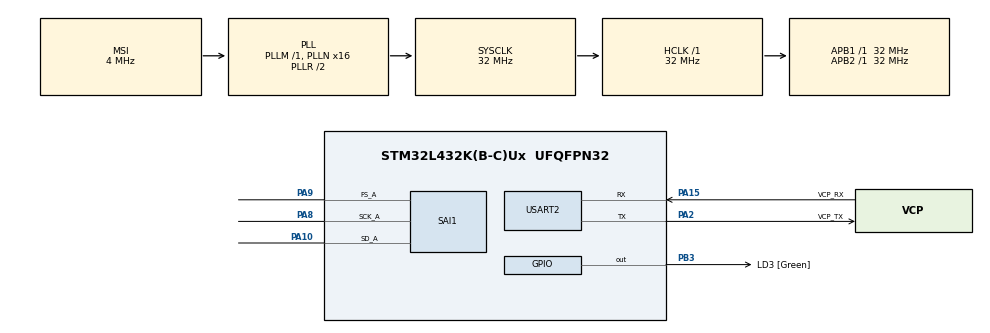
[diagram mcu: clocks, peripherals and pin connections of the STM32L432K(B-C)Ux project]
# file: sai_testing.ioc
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Dma.Request0=SAI1_A
Dma.SAI1_A.0.Direction=DMA_MEMORY_TO_PERIPH
Dma.SAI1_A.0.Instance=DMA2_Channel1
Dma.SAI1_A.0.MemDataAlignment=DMA_MDATAALIGN_WORD
Dma.SAI1_A.0.MemInc=DMA_MINC_ENABLE
Dma.SAI1_A.0.Mode=DMA_NORMAL
Dma.SAI1_A.0.PeriphDataAlignment=DMA_PDATAALIGN_WORD
Dma.SAI1_A.0.PeriphInc=DMA_PINC_DISABLE
Dma.SAI1_A.0.Priority=DMA_PRIORITY_HIGH
Mcu.Family=STM32L4
Mcu.Name=STM32L432K(B-C)Ux
Mcu.Package=UFQFPN32
NVIC.DMA2_Channel1_IRQn=true\:0\:0\:false\:false\:true\:false\:true\:true
NVIC.PriorityGroup=NVIC_PRIORITYGROUP_4
PA0.GPIO_Label=MCO [High speed clock in]
PA0.Mode=HSE-External-Clock-Source-for-LittleOrca
PA0.Signal=RCC_CK_IN
PA10.Mode=SAI_A_Master
PA10.Signal=SAI1_SD_A
PA13\ (JTMS-SWDIO).GPIO_Label=SWDIO
PA13\ (JTMS-SWDIO).Mode=Serial_Wire
PA13\ (JTMS-SWDIO).Signal=SYS_JTMS-SWDIO
PA14\ (JTCK-SWCLK).GPIO_Label=SWCLK
PA14\ (JTCK-SWCLK).Mode=Serial_Wire
PA14\ (JTCK-SWCLK).Signal=SYS_JTCK-SWCLK
PA15\ (JTDI).GPIO_Label=VCP_RX
PA15\ (JTDI).Mode=Asynchronous
PA15\ (JTDI).Signal=USART2_RX
PA2.GPIO_Label=VCP_TX
PA2.Mode=Asynchronous
PA2.Signal=USART2_TX
PA8.Mode=SAI_A_Master
PA8.Signal=SAI1_SCK_A
PA9.Mode=SAI_A_Master
PA9.Signal=SAI1_FS_A
PB3\ (JTDO-TRACESWO).GPIO_Label=LD3 [Green]
PB3\ (JTDO-TRACESWO).Signal=GPIO_Output
PC14-OSC32_IN\ (PC14).Mode=LSE-External-Oscillator
PC14-OSC32_IN\ (PC14).Signal=RCC_OSC32_IN
PC15-OSC32_OUT\ (PC15).Mode=LSE-External-Oscillator
PC15-OSC32_OUT\ (PC15).Signal=RCC_OSC32_OUT
ProjectManager.HeapSize=0x200
ProjectManager.StackSize=0x400
ProjectManager.TargetToolchain=STM32CubeIDE
RCC.ADCFreq_Value=56000000
RCC.AHBFreq_Value=32000000
RCC.APB1Freq_Value=32000000
RCC.APB1TimFreq_Value=32000000
RCC.APB2Freq_Value=32000000
RCC.APB2TimFreq_Value=32000000
RCC.CortexFreq_Value=32000000
RCC.HCLKFreq_Value=32000000
RCC.HSE_VALUE=8000000
RCC.HSI16_VALUE=16000000
RCC.HSI48_VALUE=48000000
RCC.HSI_VALUE=16000000
RCC.MSI_VALUE=4000000
RCC.PLLMUL=RCC_PLLMUL_4
RCC.PLLN=16
RCC.PLLSAI1N=28
RCC.SYSCLKFreq_VALUE=32000000
RCC.SYSCLKSource=RCC_SYSCLKSOURCE_PLLCLK
RCC.USBFreq_Value=56000000
RCC.VCOOutputFreq_Value=64000000
SAI1.AudioFrequency-SAI_A_Master=SAI_AUDIO_FREQUENCY_16K
SAI1.BasicSlotNumber-SAI_A_Master=2
SAI1.ErrorAudioFreq-SAI_A_Master=-2.34 %
SAI1.InitProtocol-SAI_A_Master=Enable
SAI1.Instance-SAI_A_Master=SAI$Index_Block_A
SAI1.MClockEnable-SAI_A_Master=SAI_MASTERCLOCK_DISABLE
SAI1.MonoStereoMode-SAI_A_Master=SAI_STEREOMODE
SAI1.RealAudioFreq-SAI_A_Master=15.625 KHz
SAI1.VirtualMode-SAI_A_Master=VM_MASTER
SAI1.VirtualProtocol-SAI_A_BASIC=VM_BASIC_PROTOCOL
TIM6.Period=1000
TIM6.TIM_MasterOutputTrigger=TIM_TRGO_UPDATE
USART2.VirtualMode-Asynchronous=VM_ASYNC
VP_SAI1_VP_$IpInstance_SAIA_SAI_BASIC.Mode=SAI_A_BASIC
VP_TIM6_VS_ClockSourceINT.Mode=Enable_Timer
board=NUCLEO-L432KC

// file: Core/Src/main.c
/* USER CODE BEGIN Header */
/**
  ******************************************************************************
  * @file           : main.c
  * @brief          : Main program body
  ******************************************************************************
  * @attention
  *
  * Copyright (c) 2025 STMicroelectronics.
  * All rights reserved.
  *
  * This software is licensed under terms that can be found in the LICENSE file
  * in the root directory of this software component.
  * If no LICENSE file comes with this software, it is provided AS-IS.
  *
  ******************************************************************************
  */
/* USER CODE END Header */
#include "main.h"

/* USER CODE BEGIN Includes */
#include "audio_clip.h"

/* USER CODE END Includes */

/* USER CODE BEGIN PD */
#define MONO_CHUNK_SAMPLES 256  // 256 mono samples = 512 bytes input
#define STEREO_FRAME_BYTES (MONO_CHUNK_SAMPLES * 2 * 2)  // 2 bytes × 2 channels

/* USER CODE END PD */

SAI_HandleTypeDef hsai_BlockA1;
DMA_HandleTypeDef hdma_sai1_a;

TIM_HandleTypeDef htim6;

UART_HandleTypeDef huart2;

/* USER CODE BEGIN PV */
extern const uint8_t audio_clip[];        // From your .h file
extern const uint32_t audio_clip_len;
volatile uint8_t playback_done = 0;

uint8_t sai_tx_buffer_a[STEREO_FRAME_BYTES];
uint8_t sai_tx_buffer_b[STEREO_FRAME_BYTES];
uint8_t *current_tx_buf = sai_tx_buffer_a;
uint8_t *next_tx_buf = sai_tx_buffer_b;
uint32_t clip_pos = 0;

/* USER CODE END PV */

void SystemClock_Config(void);
static void MX_GPIO_Init(void);
static void MX_DMA_Init(void);
static void MX_USART2_UART_Init(void);
static void MX_SAI1_Init(void);
static void MX_TIM6_Init(void);

/* USER CODE BEGIN 0 */

void fill_stereo_chunk(uint8_t *dst, const uint8_t *src, uint16_t samples)
{
    for (int i = 0; i < samples; i++) {
        dst[4 * i + 0] = src[2 * i];       // LSB
        dst[4 * i + 1] = src[2 * i + 1];   // MSB
        dst[4 * i + 2] = src[2 * i];       // LSB again
        dst[4 * i + 3] = src[2 * i + 1];   // MSB again
    }
}

//void HAL_SAI_TxCpltCallback(SAI_HandleTypeDef *hsai)
//{
//    if (hsai->Instance != SAI1_Block_A) return;
//
//    if (clip_pos >= audio_clip_len) {
//        HAL_SAI_DMAStop(hsai);
//        playback_done = 1;
//        return;
//    }
//
//    // Swap buffers
//    uint8_t *temp = current_tx_buf;
//    current_tx_buf = next_tx_buf;
//    next_tx_buf = temp;
//
//    // Determine how many samples remain
//    uint32_t remaining_bytes = audio_clip_len - clip_pos;
//    uint16_t samples_to_copy = remaining_bytes / 2;
//    if (samples_to_copy > MONO_CHUNK_SAMPLES) samples_to_copy = MONO_CHUNK_SAMPLES;
//
//    // Fill the buffer that will be played next
//    fill_stereo_chunk(next_tx_buf, &audio_clip[clip_pos], samples_to_copy);
//    clip_pos += samples_to_copy * 2;
//
//    // Launch DMA using the just-swapped buffer
//    HAL_SAI_Transmit_DMA(hsai, current_tx_buf, samples_to_copy * 4);
//}

/* USER CODE END 0 */

int main(void)
{

  /* MCU Configuration--------------------------------------------------------*/

  /* Reset of all peripherals, Initializes the Flash interface and the Systick. */
  HAL_Init();

  /* Configure the system clock */
  SystemClock_Config();

  /* Initialize all configured peripherals */
  MX_GPIO_Init();
  MX_DMA_Init();
  MX_USART2_UART_Init();
  MX_SAI1_Init();
  MX_TIM6_Init();
  /* USER CODE BEGIN 2 */
//  HAL_SAI_Transmit_DMA(&hsai_BlockA1, (uint8_t*)audio_clip, audio_clip_len / 2);
//  fill_stereo_chunk(current_tx_buf, &audio_clip[clip_pos], MONO_CHUNK_SAMPLES);
//  clip_pos += MONO_CHUNK_SAMPLES * 2;

  HAL_SAI_Transmit_DMA(&hsai_BlockA1, (uint8_t*)audio_clip, audio_clip_len / 2);
  /* USER CODE END 2 */

  /* Infinite loop */
  while (1)
  {

    /* USER CODE BEGIN 3 */
      while (!playback_done)
      {
          HAL_Delay(10);  // or __WFI() for low-power wait
      }
  }
  /* USER CODE END 3 */
}

void SystemClock_Config(void)
{
  RCC_OscInitTypeDef RCC_OscInitStruct = {0};
  RCC_ClkInitTypeDef RCC_ClkInitStruct = {0};

  /** Configure the main internal regulator output voltage
  */
  if (HAL_PWREx_ControlVoltageScaling(PWR_REGULATOR_VOLTAGE_SCALE1) != HAL_OK)
  {
    Error_Handler();
  }

  /** Configure LSE Drive Capability
  */
  HAL_PWR_EnableBkUpAccess();
  __HAL_RCC_LSEDRIVE_CONFIG(RCC_LSEDRIVE_LOW);

  /** Initializes the RCC Oscillators according to the specified parameters
  * in the RCC_OscInitTypeDef structure.
  */
  RCC_OscInitStruct.OscillatorType = RCC_OSCILLATORTYPE_LSE|RCC_OSCILLATORTYPE_MSI;
  RCC_OscInitStruct.LSEState = RCC_LSE_ON;
  RCC_OscInitStruct.MSIState = RCC_MSI_ON;
  RCC_OscInitStruct.MSICalibrationValue = 0;
  RCC_OscInitStruct.MSIClockRange = RCC_MSIRANGE_6;
  RCC_OscInitStruct.PLL.PLLState = RCC_PLL_ON;
  RCC_OscInitStruct.PLL.PLLSource = RCC_PLLSOURCE_MSI;
  RCC_OscInitStruct.PLL.PLLM = 1;
  RCC_OscInitStruct.PLL.PLLN = 16;
  RCC_OscInitStruct.PLL.PLLP = RCC_PLLP_DIV7;
  RCC_OscInitStruct.PLL.PLLQ = RCC_PLLQ_DIV2;
  RCC_OscInitStruct.PLL.PLLR = RCC_PLLR_DIV2;
  if (HAL_RCC_OscConfig(&RCC_OscInitStruct) != HAL_OK)
  {
    Error_Handler();
  }

  /** Initializes the CPU, AHB and APB buses clocks
  */
  RCC_ClkInitStruct.ClockType = RCC_CLOCKTYPE_HCLK|RCC_CLOCKTYPE_SYSCLK
                              |RCC_CLOCKTYPE_PCLK1|RCC_CLOCKTYPE_PCLK2;
  RCC_ClkInitStruct.SYSCLKSource = RCC_SYSCLKSOURCE_PLLCLK;
  RCC_ClkInitStruct.AHBCLKDivider = RCC_SYSCLK_DIV1;
  RCC_ClkInitStruct.APB1CLKDivider = RCC_HCLK_DIV1;
  RCC_ClkInitStruct.APB2CLKDivider = RCC_HCLK_DIV1;

  if (HAL_RCC_ClockConfig(&RCC_ClkInitStruct, FLASH_LATENCY_1) != HAL_OK)
  {
    Error_Handler();
  }

  /** Enable MSI Auto calibration
  */
  HAL_RCCEx_EnableMSIPLLMode();
}

static void MX_SAI1_Init(void)
{

  hsai_BlockA1.Instance = SAI1_Block_A;
  hsai_BlockA1.Init.AudioMode = SAI_MODEMASTER_TX;
  hsai_BlockA1.Init.Synchro = SAI_ASYNCHRONOUS;
  hsai_BlockA1.Init.OutputDrive = SAI_OUTPUTDRIVE_DISABLE;
  hsai_BlockA1.Init.NoDivider = SAI_MASTERDIVIDER_ENABLE;
  hsai_BlockA1.Init.FIFOThreshold = SAI_FIFOTHRESHOLD_EMPTY;
  hsai_BlockA1.Init.AudioFrequency = SAI_AUDIO_FREQUENCY_16K;
  hsai_BlockA1.Init.SynchroExt = SAI_SYNCEXT_DISABLE;
  hsai_BlockA1.Init.MonoStereoMode = SAI_STEREOMODE;
  hsai_BlockA1.Init.CompandingMode = SAI_NOCOMPANDING;
  hsai_BlockA1.Init.TriState = SAI_OUTPUT_NOTRELEASED;
  if (HAL_SAI_InitProtocol(&hsai_BlockA1, SAI_I2S_STANDARD, SAI_PROTOCOL_DATASIZE_16BIT, 2) != HAL_OK)
  {
    Error_Handler();
  }

}

static void MX_TIM6_Init(void)
{

  TIM_MasterConfigTypeDef sMasterConfig = {0};

  htim6.Instance = TIM6;
  htim6.Init.Prescaler = 0;
  htim6.Init.CounterMode = TIM_COUNTERMODE_UP;
  htim6.Init.Period = 1000;
  htim6.Init.AutoReloadPreload = TIM_AUTORELOAD_PRELOAD_DISABLE;
  if (HAL_TIM_Base_Init(&htim6) != HAL_OK)
  {
    Error_Handler();
  }
  sMasterConfig.MasterOutputTrigger = TIM_TRGO_UPDATE;
  sMasterConfig.MasterSlaveMode = TIM_MASTERSLAVEMODE_DISABLE;
  if (HAL_TIMEx_MasterConfigSynchronization(&htim6, &sMasterConfig) != HAL_OK)
  {
    Error_Handler();
  }

}

static void MX_USART2_UART_Init(void)
{

  huart2.Instance = USART2;
  huart2.Init.BaudRate = 115200;
  huart2.Init.WordLength = UART_WORDLENGTH_8B;
  huart2.Init.StopBits = UART_STOPBITS_1;
  huart2.Init.Parity = UART_PARITY_NONE;
  huart2.Init.Mode = UART_MODE_TX_RX;
  huart2.Init.HwFlowCtl = UART_HWCONTROL_NONE;
  huart2.Init.OverSampling = UART_OVERSAMPLING_16;
  huart2.Init.OneBitSampling = UART_ONE_BIT_SAMPLE_DISABLE;
  huart2.AdvancedInit.AdvFeatureInit = UART_ADVFEATURE_NO_INIT;
  if (HAL_UART_Init(&huart2) != HAL_OK)
  {
    Error_Handler();
  }

}

static void MX_DMA_Init(void)
{

  /* DMA controller clock enable */
  __HAL_RCC_DMA2_CLK_ENABLE();

  /* DMA interrupt init */
  /* DMA2_Channel1_IRQn interrupt configuration */
  HAL_NVIC_SetPriority(DMA2_Channel1_IRQn, 0, 0);
  HAL_NVIC_EnableIRQ(DMA2_Channel1_IRQn);

}

static void MX_GPIO_Init(void)
{
  GPIO_InitTypeDef GPIO_InitStruct = {0};

  /* GPIO Ports Clock Enable */
  __HAL_RCC_GPIOC_CLK_ENABLE();
  __HAL_RCC_GPIOA_CLK_ENABLE();
  __HAL_RCC_GPIOB_CLK_ENABLE();

  /*Configure GPIO pin Output Level */
  HAL_GPIO_WritePin(LD3_GPIO_Port, LD3_Pin, GPIO_PIN_RESET);

  /*Configure GPIO pin : LD3_Pin */
  GPIO_InitStruct.Pin = LD3_Pin;
  GPIO_InitStruct.Mode = GPIO_MODE_OUTPUT_PP;
  GPIO_InitStruct.Pull = GPIO_NOPULL;
  GPIO_InitStruct.Speed = GPIO_SPEED_FREQ_LOW;
  HAL_GPIO_Init(LD3_GPIO_Port, &GPIO_InitStruct);

}

void Error_Handler(void)
{
  __disable_irq();
  while (1)
  {
  }
}
